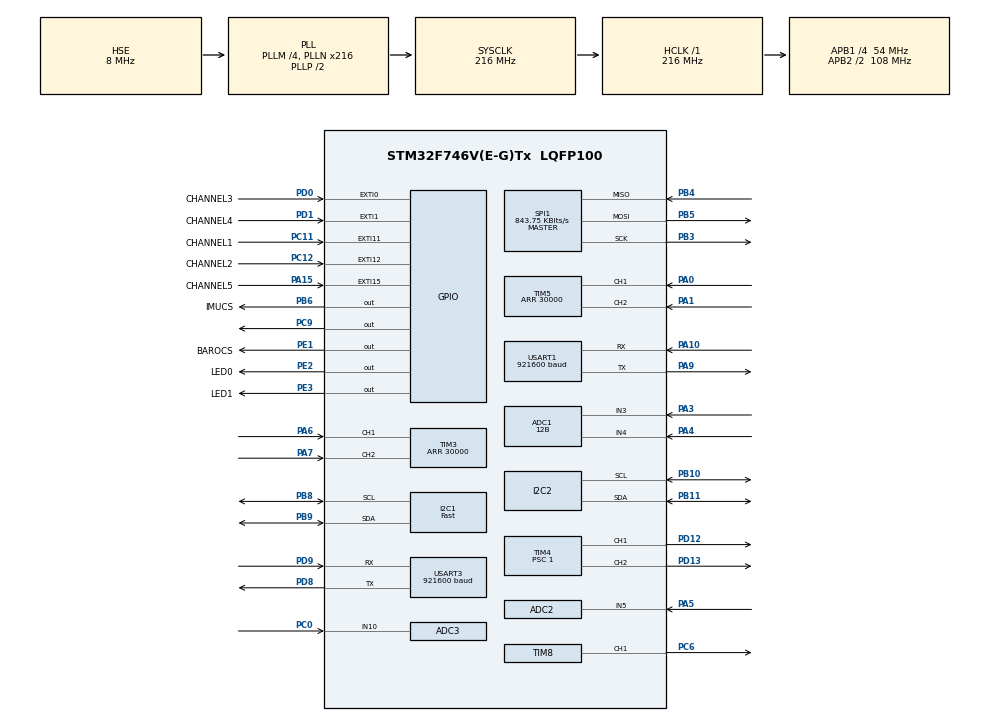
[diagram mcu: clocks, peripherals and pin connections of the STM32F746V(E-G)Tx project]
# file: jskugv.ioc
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ADC1.Channel-0\#ChannelRegularConversion=ADC_CHANNEL_4
ADC1.ClockPrescaler=ADC_CLOCK_SYNC_PCLK_DIV2
ADC1.ContinuousConvMode=DISABLE
ADC1.DMAContinuousRequests=DISABLE
ADC1.DataAlign=ADC_DATAALIGN_RIGHT
ADC1.DiscontinuousConvMode=DISABLE
ADC1.EOCSelection=ADC_EOC_SINGLE_CONV
ADC1.EnableAnalogWatchDog=false
ADC1.ExternalTrigConvEdge=ADC_EXTERNALTRIGCONVEDGE_NONE
ADC1.InjNumberOfConversion=0
ADC1.NbrOfConversion=1
ADC1.NbrOfConversionFlag=1
ADC1.Rank-0\#ChannelRegularConversion=1
ADC1.Resolution=ADC_RESOLUTION_12B
ADC1.SamplingTime-0\#ChannelRegularConversion=ADC_SAMPLETIME_3CYCLES
ADC1.ScanConvMode=DISABLE
ADC1.master=1
ADC2.Channel-2\#ChannelRegularConversion=ADC_CHANNEL_5
ADC2.ContinuousConvMode=DISABLE
ADC2.DMAContinuousRequests=DISABLE
ADC2.DataAlign=ADC_DATAALIGN_RIGHT
ADC2.DiscontinuousConvMode=DISABLE
ADC2.EOCSelection=ADC_EOC_SINGLE_CONV
ADC2.EnableAnalogWatchDog=false
ADC2.ExternalTrigConvEdge=ADC_EXTERNALTRIGCONVEDGE_NONE
ADC2.InjNumberOfConversion=0
ADC2.NbrOfConversion=1
ADC2.NbrOfConversionFlag=1
ADC2.Rank-2\#ChannelRegularConversion=1
ADC2.Resolution=ADC_RESOLUTION_12B
ADC2.SamplingTime-2\#ChannelRegularConversion=ADC_SAMPLETIME_3CYCLES
ADC2.ScanConvMode=DISABLE
ADC3.Channel-0\#ChannelRegularConversion=ADC_CHANNEL_10
ADC3.NbrOfConversionFlag=1
ADC3.Rank-0\#ChannelRegularConversion=1
ADC3.SamplingTime-0\#ChannelRegularConversion=ADC_SAMPLETIME_3CYCLES
CORTEX_M7.ART_ACCLERATOR_ENABLE=1
CORTEX_M7.CPU_DCache=Enabled
CORTEX_M7.CPU_ICache=Enabled
CORTEX_M7.FlashInterface=AXI_Enabled
CORTEX_M7.PREFETCH_ENABLE=1
Dma.Request0=USART1_RX
Dma.Request1=USART1_TX
Dma.USART1_RX.0.Channel=DMA_CHANNEL_4
Dma.USART1_RX.0.Direction=DMA_PERIPH_TO_MEMORY
Dma.USART1_RX.0.FIFOMode=DMA_FIFOMODE_ENABLE
Dma.USART1_RX.0.FIFOThreshold=DMA_FIFO_THRESHOLD_HALFFULL
Dma.USART1_RX.0.Instance=DMA2_Stream2
Dma.USART1_RX.0.MemBurst=DMA_MBURST_INC8
Dma.USART1_RX.0.MemDataAlignment=DMA_MDATAALIGN_BYTE
Dma.USART1_RX.0.MemInc=DMA_MINC_ENABLE
Dma.USART1_RX.0.Mode=DMA_CIRCULAR
Dma.USART1_RX.0.PeriphBurst=DMA_PBURST_SINGLE
Dma.USART1_RX.0.PeriphDataAlignment=DMA_PDATAALIGN_BYTE
Dma.USART1_RX.0.PeriphInc=DMA_PINC_DISABLE
Dma.USART1_RX.0.Priority=DMA_PRIORITY_VERY_HIGH
Dma.USART1_TX.1.Channel=DMA_CHANNEL_4
Dma.USART1_TX.1.Direction=DMA_MEMORY_TO_PERIPH
Dma.USART1_TX.1.FIFOMode=DMA_FIFOMODE_DISABLE
Dma.USART1_TX.1.Instance=DMA2_Stream7
Dma.USART1_TX.1.MemDataAlignment=DMA_MDATAALIGN_BYTE
Dma.USART1_TX.1.MemInc=DMA_MINC_ENABLE
Dma.USART1_TX.1.Mode=DMA_CIRCULAR
Dma.USART1_TX.1.PeriphDataAlignment=DMA_PDATAALIGN_BYTE
Dma.USART1_TX.1.PeriphInc=DMA_PINC_DISABLE
Dma.USART1_TX.1.Priority=DMA_PRIORITY_VERY_HIGH
I2C1.I2C_Speed_Mode=I2C_Fast
I2C1.Speed=400
I2C1.Timing=0x6000030D
I2C2.Timing=0x20404768
Mcu.Family=STM32F7
Mcu.Name=STM32F746V(E-G)Tx
Mcu.Package=LQFP100
NVIC.DMA2_Stream2_IRQn=true\:2\:1\:true\:false\:true
NVIC.DMA2_Stream7_IRQn=true\:2\:1\:true\:false\:true
NVIC.EXTI0_IRQn=true\:1\:1\:true\:false\:true
NVIC.EXTI15_10_IRQn=true\:1\:0\:true\:false\:true
NVIC.EXTI1_IRQn=true\:1\:1\:true\:false\:true
NVIC.PriorityGroup=NVIC_PRIORITYGROUP_2
PA0/WKUP.Signal=S_TIM5_CH1
PA1.Signal=S_TIM5_CH2
PA10.Mode=Asynchronous
PA10.Signal=USART1_RX
PA13.Mode=Serial-Wire
PA13.Signal=SYS_JTMS-SWDIO
PA14.Mode=Serial-Wire
PA14.Signal=SYS_JTCK-SWCLK
PA15.GPIO_Label=CHANNEL5
PA15.GPIO_ModeDefaultEXTI=GPIO_MODE_IT_RISING_FALLING
PA15.Signal=GPXTI15
PA3.Signal=ADCx_IN3
PA4.Signal=ADCx_IN4
PA5.Signal=ADCx_IN5
PA6.Signal=S_TIM3_CH1
PA7.Signal=S_TIM3_CH2
PA9.Mode=Asynchronous
PA9.Signal=USART1_TX
PB10.Mode=I2C
PB10.Signal=I2C2_SCL
PB11.Mode=I2C
PB11.Signal=I2C2_SDA
PB3.Mode=Full_Duplex_Master
PB3.Signal=SPI1_SCK
PB4.Mode=Full_Duplex_Master
PB4.Signal=SPI1_MISO
PB5.Mode=Full_Duplex_Master
PB5.Signal=SPI1_MOSI
PB6.GPIO_Label=IMUCS
PB6.GPIO_PuPd=GPIO_PULLUP
PB6.GPIO_Speed=GPIO_SPEED_FREQ_HIGH
PB6.Signal=GPIO_Output
PB8.Mode=I2C
PB8.Signal=I2C1_SCL
PB9.Mode=I2C
PB9.Signal=I2C1_SDA
PC0.Signal=ADCx_IN10
PC10.GPIO_Label=CHANNEL6
PC10.Signal=EVENTOUT
PC11.GPIO_Label=CHANNEL1
PC11.GPIO_ModeDefaultEXTI=GPIO_MODE_IT_RISING_FALLING
PC11.Signal=GPXTI11
PC12.GPIO_Label=CHANNEL2
PC12.GPIO_ModeDefaultEXTI=GPIO_MODE_IT_RISING_FALLING
PC12.Signal=GPXTI12
PC6.Signal=S_TIM8_CH1
PC9.Signal=GPIO_Output
PD0.GPIO_Label=CHANNEL3
PD0.GPIO_ModeDefaultEXTI=GPIO_MODE_IT_RISING_FALLING
PD0.Signal=GPXTI0
PD1.GPIO_Label=CHANNEL4
PD1.GPIO_ModeDefaultEXTI=GPIO_MODE_IT_RISING_FALLING
PD1.Signal=GPXTI1
PD12.Signal=S_TIM4_CH1
PD13.Signal=S_TIM4_CH2
PD8.Mode=Asynchronous
PD8.Signal=USART3_TX
PD9.Mode=Asynchronous
PD9.Signal=USART3_RX
PE1.GPIO_Label=BAROCS
PE1.GPIO_PuPd=GPIO_PULLDOWN
PE1.Signal=GPIO_Output
PE2.GPIO_Label=LED0
PE2.GPIO_ModeDefaultOutputPP=GPIO_MODE_OUTPUT_OD
PE2.GPIO_Speed=GPIO_SPEED_FREQ_MEDIUM
PE2.Signal=GPIO_Output
PE3.GPIO_Label=LED1
PE3.GPIO_ModeDefaultOutputPP=GPIO_MODE_OUTPUT_OD
PE3.GPIO_Speed=GPIO_SPEED_FREQ_MEDIUM
PE3.Signal=GPIO_Output
PH0/OSC_IN.Mode=HSE-External-Oscillator
PH0/OSC_IN.Signal=RCC_OSC_IN
PH1/OSC_OUT.Mode=HSE-External-Oscillator
PH1/OSC_OUT.Signal=RCC_OSC_OUT
ProjectManager.HeapSize=0x400
ProjectManager.StackSize=0x200
ProjectManager.TargetToolchain=TrueSTUDIO
RCC.AHBFreq_Value=216000000
RCC.APB1CLKDivider=RCC_HCLK_DIV4
RCC.APB1Freq_Value=54000000
RCC.APB1TimFreq_Value=108000000
RCC.APB2CLKDivider=RCC_HCLK_DIV2
RCC.APB2Freq_Value=108000000
RCC.APB2TimFreq_Value=216000000
RCC.CortexFreq_Value=216000000
RCC.HCLKFreq_Value=216000000
RCC.HSE_VALUE=8000000
RCC.HSI_VALUE=16000000
RCC.LSE_VALUE=32768
RCC.PLLM=4
RCC.PLLN=216
RCC.PLLSourceVirtual=RCC_PLLSOURCE_HSE
RCC.SYSCLKFreq_VALUE=216000000
RCC.SYSCLKSource=RCC_SYSCLKSOURCE_PLLCLK
RCC.USART1CLockSelection=RCC_USART1CLKSOURCE_SYSCLK
RCC.USART3CLockSelection=RCC_USART3CLKSOURCE_SYSCLK
RCC.USBFreq_Value=216000000
RCC.VCOOutputFreq_Value=432000000
SH.ADCx_IN10.0=ADC3_IN10,IN10
SH.ADCx_IN3.0=ADC1_IN3,IN3
SH.ADCx_IN4.0=ADC1_IN4,IN4
SH.ADCx_IN5.0=ADC2_IN5,IN5
SH.S_TIM3_CH1.0=TIM3_CH1,Encoder_Interface
SH.S_TIM3_CH2.0=TIM3_CH2,Encoder_Interface
SH.S_TIM4_CH1.0=TIM4_CH1,PWM Generation1 CH1
SH.S_TIM4_CH2.0=TIM4_CH2,PWM Generation2 CH2
SH.S_TIM5_CH1.0=TIM5_CH1,Encoder_Interface
SH.S_TIM5_CH2.0=TIM5_CH2,Encoder_Interface
SH.S_TIM8_CH1.0=TIM8_CH1,PWM Generation1 CH1
SPI1.BaudRatePrescaler=SPI_BAUDRATEPRESCALER_128
SPI1.CalculateBaudRate=843.75 KBits/s
SPI1.DataSize=SPI_DATASIZE_8BIT
SPI1.Mode=SPI_MODE_MASTER
TIM3.CounterMode=TIM_COUNTERMODE_DOWN
TIM3.EncoderMode=TIM_ENCODERMODE_TI12
TIM3.Period=30000
TIM4.Channel-PWM\ Generation2\ CH2=TIM_CHANNEL_2
TIM4.CounterMode=TIM_COUNTERMODE_CENTERALIGNED1
TIM4.OCMode_PWM-PWM\ Generation1\ CH1=TIM_OCMODE_PWM1
TIM4.Period=54000
TIM4.Prescaler=1
TIM4.Pulse-PWM\ Generation1\ CH1=40500
TIM4.Pulse-PWM\ Generation2\ CH2=40500
TIM5.CounterMode=TIM_COUNTERMODE_UP
TIM5.EncoderMode=TIM_ENCODERMODE_TI12
TIM5.Period=30000
TIM8.CounterMode=TIM_COUNTERMODE_UP
TIM8.Period=50000
TIM8.Prescaler=216
TIM8.Pulse-PWM\ Generation1\ CH1=25000
USART1.BaudRate=921600
USART1.WordLength=UART_WORDLENGTH_8B
USART3.BaudRate=921600
USART3.WordLength=UART_WORDLENGTH_8B
VP_TIM4_VS_ClockSourceINT.Mode=Internal
VP_TIM8_VS_ClockSourceINT.Mode=Internal
board=jskugv

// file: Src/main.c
/**
  ******************************************************************************
  * File Name          : main.c
  * Description        : Main program body
  ******************************************************************************
  *
  * COPYRIGHT(c) 2016 STMicroelectronics
  *
  * Redistribution and use in source and binary forms, with or without modification,
  * are permitted provided that the following conditions are met:
  *   1. Redistributions of source code must retain the above copyright notice,
  *      this list of conditions and the following disclaimer.
  *   2. Redistributions in binary form must reproduce the above copyright notice,
  *      this list of conditions and the following disclaimer in the documentation
  *      and/or other materials provided with the distribution.
  *   3. Neither the name of STMicroelectronics nor the names of its contributors
  *      may be used to endorse or promote products derived from this software
  *      without specific prior written permission.
  *
  * THIS SOFTWARE IS PROVIDED BY THE COPYRIGHT HOLDERS AND CONTRIBUTORS "AS IS"
  * AND ANY EXPRESS OR IMPLIED WARRANTIES, INCLUDING, BUT NOT LIMITED TO, THE
  * IMPLIED WARRANTIES OF MERCHANTABILITY AND FITNESS FOR A PARTICULAR PURPOSE ARE
  * DISCLAIMED. IN NO EVENT SHALL THE COPYRIGHT HOLDER OR CONTRIBUTORS BE LIABLE
  * FOR ANY DIRECT, INDIRECT, INCIDENTAL, SPECIAL, EXEMPLARY, OR CONSEQUENTIAL
  * DAMAGES (INCLUDING, BUT NOT LIMITED TO, PROCUREMENT OF SUBSTITUTE GOODS OR
  * SERVICES; LOSS OF USE, DATA, OR PROFITS; OR BUSINESS INTERRUPTION) HOWEVER
  * CAUSED AND ON ANY THEORY OF LIABILITY, WHETHER IN CONTRACT, STRICT LIABILITY,
  * OR TORT (INCLUDING NEGLIGENCE OR OTHERWISE) ARISING IN ANY WAY OUT OF THE USE
  * OF THIS SOFTWARE, EVEN IF ADVISED OF THE POSSIBILITY OF SUCH DAMAGE.
  *
  ******************************************************************************
  */
#include "stm32f7xx_hal.h"
#include "adc.h"
#include "dma.h"
#include "i2c.h"
#include "spi.h"
#include "tim.h"
#include "usart.h"
#include "gpio.h"

/* USER CODE BEGIN Includes */
//#include "def.h"
//
//#include "attitude_estimate.h"
//#include "attitude_control.h"
//#include "communication.h"

/* ros */
#include <ros.h>
/* inlcude ros message types*/
#include <std_msgs/Empty.h>
#include <std_msgs/UInt8.h>
#include <nav_msgs/Odometry.h>
/* inlcude ros related class */
#include <examples/class.h>
/* USER CODE END Includes */

/* USER CODE BEGIN PV */
/* Private variables ---------------------------------------------------------*/
/* ros related variables */
/* ros node handle */
ros::NodeHandle  nh_;
/* ros publisher */
ros::Publisher* pub;
ros::Publisher* odom_pub_;
/* ros subscibers */
ros::Subscriber<std_msgs::Empty>* sub;
/*  ros related class */

/*  ros msgs */
std_msgs::UInt8 test_msg;
nav_msgs::Odometry odom_msg;

/* flag for the start about the process in HAL_SYSTICK_Callback  */
bool start_process_flag_ = false;

volatile int L_encoder;
volatile int R_encoder;
/* USER CODE END PV */

void SystemClock_Config(void);

/* USER CODE BEGIN PFP */

/* Private function prototypes -----------------------------------------------*/

/* USER CODE END PFP */

/* USER CODE BEGIN 0 */

// attitude estimate and  control is at sys timer it callbkack
// update interrupt
void HAL_SYSTICK_Callback(void)
{

  if(start_process_flag_){
      /* ros spin func, mainly subscribing  data from ROS network */
      nh_.spinOnce();

      /* please check whether connection between ros and mcu is build */
      if(nh_.connected())
        {
          /* publish message */
          test_msg.data = 10;
          pub->publish(&test_msg);
        }
  }
   L_encoder = TIM3->CNT;
   R_encoder = TIM5->CNT;

}

/* callback function for subscribe */
void messageCb( const std_msgs::Empty& toggle_msg)
{
  static int i = 0;
  if(i == 0)
    {
      LED1_L;
      i = 1;
    }
  else
    {
      LED1_H;
      i = 0;
    }
}
/* USER CODE END 0 */

int main(void)
{

  /* Enable I-Cache-------------------------------------------------------------*/
  SCB_EnableICache();

  /* Enable D-Cache-------------------------------------------------------------*/
  SCB_EnableDCache();

  /* MCU Configuration----------------------------------------------------------*/

  /* Reset of all peripherals, Initializes the Flash interface and the Systick. */
  HAL_Init();

  /* Configure the system clock */
  SystemClock_Config();

  /* Initialize all configured peripherals */
  MX_GPIO_Init();
  MX_DMA_Init();
  MX_ADC1_Init();
  MX_ADC2_Init();
  MX_ADC3_Init();
  MX_I2C1_Init();
  MX_SPI1_Init();
  MX_TIM4_Init();
  MX_TIM5_Init();
  MX_TIM8_Init();
  MX_USART1_UART_Init();
  MX_USART3_UART_Init();
  MX_TIM3_Init();
  MX_I2C2_Init();

  /* USER CODE BEGIN 2 */
  {
    // initialize timer setting
    HAL_TIM_PWM_Start(&htim8,TIM_CHANNEL_1);
    HAL_TIM_PWM_Start(&htim4,TIM_CHANNEL_1);
    HAL_TIM_PWM_Start(&htim4,TIM_CHANNEL_2);
    // initialize encoder setting
    HAL_TIM_Encoder_Start(&htim3,TIM_CHANNEL_ALL);
    HAL_TIM_Encoder_Start(&htim5,TIM_CHANNEL_ALL);
  }
  /**********************************/
  {
    /* ros node initialize */
    nh_.initNode();
    /* ros publisher initialize */
    pub  = new ros::Publisher("test1", &test_msg);
    odom_pub_ = new ros::Publisher("odometry/raw",&odom_msg);

    //publish the msgs
    nh_.advertise(*pub);
    nh_.advertise(*odom_pub_);
    /* ros subscriber initialize */
    sub  = new ros::Subscriber<std_msgs::Empty> ("toggle_led", &messageCb);
    nh_.subscribe<std_msgs::Empty>(*sub);
    /*ros related class initialized */

    /* all process can start right now! */
    start_process_flag_ = true;
  }
  /* USER CODE END 2 */

  /* Infinite loop */
  while (1)
  {

  /* USER CODE BEGIN 3 */
      HAL_Delay(1);

    }
  /* USER CODE END 3 */

}

/** System Clock Configuration
*/
void SystemClock_Config(void)
{

  RCC_OscInitTypeDef RCC_OscInitStruct;
  RCC_ClkInitTypeDef RCC_ClkInitStruct;
  RCC_PeriphCLKInitTypeDef PeriphClkInitStruct;

  __HAL_RCC_PWR_CLK_ENABLE();

  __HAL_PWR_VOLTAGESCALING_CONFIG(PWR_REGULATOR_VOLTAGE_SCALE1);

  RCC_OscInitStruct.OscillatorType = RCC_OSCILLATORTYPE_HSE;
  RCC_OscInitStruct.HSEState = RCC_HSE_ON;
  RCC_OscInitStruct.PLL.PLLState = RCC_PLL_ON;
  RCC_OscInitStruct.PLL.PLLSource = RCC_PLLSOURCE_HSE;
  RCC_OscInitStruct.PLL.PLLM = 4;
  RCC_OscInitStruct.PLL.PLLN = 216;
  RCC_OscInitStruct.PLL.PLLP = RCC_PLLP_DIV2;
  RCC_OscInitStruct.PLL.PLLQ = 2;
  HAL_RCC_OscConfig(&RCC_OscInitStruct);

  HAL_PWREx_EnableOverDrive();

  RCC_ClkInitStruct.ClockType = RCC_CLOCKTYPE_HCLK|RCC_CLOCKTYPE_SYSCLK
                              |RCC_CLOCKTYPE_PCLK1|RCC_CLOCKTYPE_PCLK2;
  RCC_ClkInitStruct.SYSCLKSource = RCC_SYSCLKSOURCE_PLLCLK;
  RCC_ClkInitStruct.AHBCLKDivider = RCC_SYSCLK_DIV1;
  RCC_ClkInitStruct.APB1CLKDivider = RCC_HCLK_DIV4;
  RCC_ClkInitStruct.APB2CLKDivider = RCC_HCLK_DIV2;
  HAL_RCC_ClockConfig(&RCC_ClkInitStruct, FLASH_LATENCY_7);

  PeriphClkInitStruct.PeriphClockSelection = RCC_PERIPHCLK_USART1|RCC_PERIPHCLK_USART3
                              |RCC_PERIPHCLK_I2C1|RCC_PERIPHCLK_I2C2;
  PeriphClkInitStruct.Usart1ClockSelection = RCC_USART1CLKSOURCE_SYSCLK;
  PeriphClkInitStruct.Usart3ClockSelection = RCC_USART3CLKSOURCE_SYSCLK;
  PeriphClkInitStruct.I2c1ClockSelection = RCC_I2C1CLKSOURCE_PCLK1;
  PeriphClkInitStruct.I2c2ClockSelection = RCC_I2C2CLKSOURCE_PCLK1;
  HAL_RCCEx_PeriphCLKConfig(&PeriphClkInitStruct);

  HAL_SYSTICK_Config(HAL_RCC_GetHCLKFreq()/1000);

  HAL_SYSTICK_CLKSourceConfig(SYSTICK_CLKSOURCE_HCLK);

  /* SysTick_IRQn interrupt configuration */
  HAL_NVIC_SetPriority(SysTick_IRQn, 1, 2);
}

/************************ (C) COPYRIGHT STMicroelectronics *****END OF FILE****/
